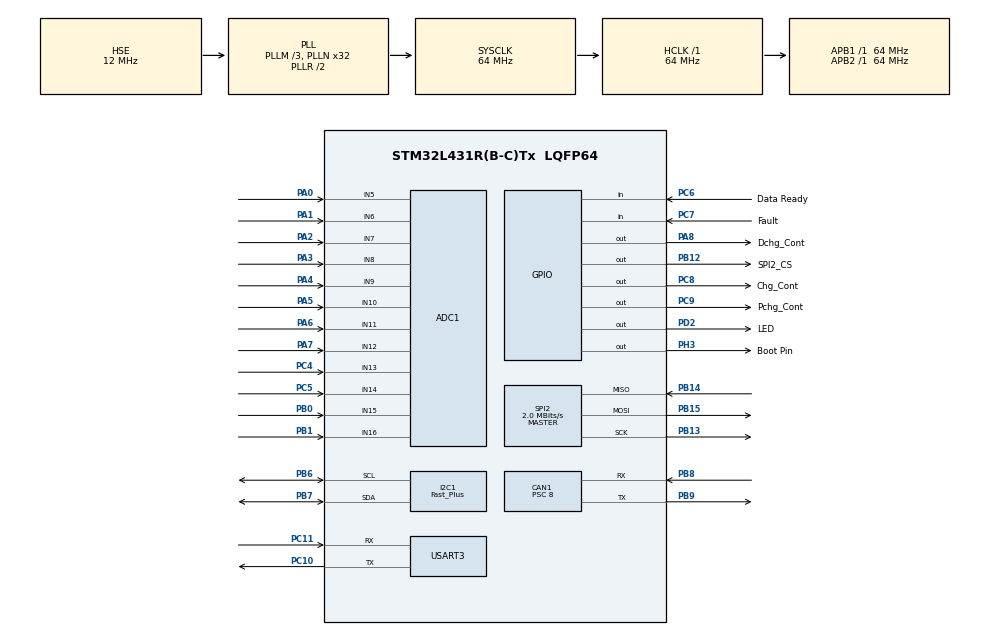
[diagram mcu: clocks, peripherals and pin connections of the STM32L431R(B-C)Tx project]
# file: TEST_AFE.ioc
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ADC1.Channel-0\#ChannelRegularConversion=ADC_CHANNEL_5
ADC1.Channel-1\#ChannelRegularConversion=ADC_CHANNEL_6
ADC1.Channel-10\#ChannelRegularConversion=ADC_CHANNEL_15
ADC1.Channel-11\#ChannelRegularConversion=ADC_CHANNEL_16
ADC1.Channel-2\#ChannelRegularConversion=ADC_CHANNEL_7
ADC1.Channel-3\#ChannelRegularConversion=ADC_CHANNEL_8
ADC1.Channel-4\#ChannelRegularConversion=ADC_CHANNEL_9
ADC1.Channel-5\#ChannelRegularConversion=ADC_CHANNEL_10
ADC1.Channel-6\#ChannelRegularConversion=ADC_CHANNEL_11
ADC1.Channel-7\#ChannelRegularConversion=ADC_CHANNEL_12
ADC1.Channel-8\#ChannelRegularConversion=ADC_CHANNEL_13
ADC1.Channel-9\#ChannelRegularConversion=ADC_CHANNEL_14
ADC1.DMAContinuousRequests=ENABLE
ADC1.EOCSelection=ADC_EOC_SEQ_CONV
ADC1.NbrOfConversion=12
ADC1.NbrOfConversionFlag=1
ADC1.OffsetNumber-0\#ChannelRegularConversion=ADC_OFFSET_NONE
ADC1.OffsetNumber-1\#ChannelRegularConversion=ADC_OFFSET_NONE
ADC1.OffsetNumber-10\#ChannelRegularConversion=ADC_OFFSET_NONE
ADC1.OffsetNumber-11\#ChannelRegularConversion=ADC_OFFSET_NONE
ADC1.OffsetNumber-2\#ChannelRegularConversion=ADC_OFFSET_NONE
ADC1.OffsetNumber-3\#ChannelRegularConversion=ADC_OFFSET_NONE
ADC1.OffsetNumber-4\#ChannelRegularConversion=ADC_OFFSET_NONE
ADC1.OffsetNumber-5\#ChannelRegularConversion=ADC_OFFSET_NONE
ADC1.OffsetNumber-6\#ChannelRegularConversion=ADC_OFFSET_NONE
ADC1.OffsetNumber-7\#ChannelRegularConversion=ADC_OFFSET_NONE
ADC1.OffsetNumber-8\#ChannelRegularConversion=ADC_OFFSET_NONE
ADC1.OffsetNumber-9\#ChannelRegularConversion=ADC_OFFSET_NONE
ADC1.Overrun=ADC_OVR_DATA_OVERWRITTEN
ADC1.Rank-0\#ChannelRegularConversion=1
ADC1.Rank-1\#ChannelRegularConversion=2
ADC1.Rank-10\#ChannelRegularConversion=11
ADC1.Rank-11\#ChannelRegularConversion=12
ADC1.Rank-2\#ChannelRegularConversion=3
ADC1.Rank-3\#ChannelRegularConversion=4
ADC1.Rank-4\#ChannelRegularConversion=5
ADC1.Rank-5\#ChannelRegularConversion=6
ADC1.Rank-6\#ChannelRegularConversion=7
ADC1.Rank-7\#ChannelRegularConversion=8
ADC1.Rank-8\#ChannelRegularConversion=9
ADC1.Rank-9\#ChannelRegularConversion=10
ADC1.SamplingTime-0\#ChannelRegularConversion=ADC_SAMPLETIME_2CYCLES_5
ADC1.SamplingTime-1\#ChannelRegularConversion=ADC_SAMPLETIME_2CYCLES_5
ADC1.SamplingTime-10\#ChannelRegularConversion=ADC_SAMPLETIME_2CYCLES_5
ADC1.SamplingTime-11\#ChannelRegularConversion=ADC_SAMPLETIME_2CYCLES_5
ADC1.SamplingTime-2\#ChannelRegularConversion=ADC_SAMPLETIME_2CYCLES_5
ADC1.SamplingTime-3\#ChannelRegularConversion=ADC_SAMPLETIME_2CYCLES_5
ADC1.SamplingTime-4\#ChannelRegularConversion=ADC_SAMPLETIME_2CYCLES_5
ADC1.SamplingTime-5\#ChannelRegularConversion=ADC_SAMPLETIME_2CYCLES_5
ADC1.SamplingTime-6\#ChannelRegularConversion=ADC_SAMPLETIME_2CYCLES_5
ADC1.SamplingTime-7\#ChannelRegularConversion=ADC_SAMPLETIME_2CYCLES_5
ADC1.SamplingTime-8\#ChannelRegularConversion=ADC_SAMPLETIME_2CYCLES_5
ADC1.SamplingTime-9\#ChannelRegularConversion=ADC_SAMPLETIME_2CYCLES_5
ADC1.master=1
CAN1.BS1=CAN_BS1_13TQ
CAN1.BS2=CAN_BS2_2TQ
CAN1.CalculateBaudRate=500000
CAN1.CalculateTimeBit=2000
CAN1.CalculateTimeQuantum=125.0
CAN1.Prescaler=8
Dma.ADC1.0.Direction=DMA_PERIPH_TO_MEMORY
Dma.ADC1.0.Instance=DMA1_Channel1
Dma.ADC1.0.MemDataAlignment=DMA_MDATAALIGN_WORD
Dma.ADC1.0.MemInc=DMA_MINC_ENABLE
Dma.ADC1.0.Mode=DMA_CIRCULAR
Dma.ADC1.0.PeriphDataAlignment=DMA_PDATAALIGN_WORD
Dma.ADC1.0.PeriphInc=DMA_PINC_DISABLE
Dma.ADC1.0.Priority=DMA_PRIORITY_LOW
Dma.Request0=ADC1
I2C1.I2C_Speed_Mode=I2C_Fast_Plus
I2C1.Timing=0x00300B29
Mcu.Family=STM32L4
Mcu.Name=STM32L431R(B-C)Tx
Mcu.Package=LQFP64
NVIC.DMA1_Channel1_IRQn=true\:0\:0\:false\:false\:true\:false\:true\:true
NVIC.PriorityGroup=NVIC_PRIORITYGROUP_4
PA0.Signal=ADCx_IN5
PA1.Signal=ADCx_IN6
PA13\ (JTMS-SWDIO).Mode=Serial_Wire
PA13\ (JTMS-SWDIO).Signal=SYS_JTMS-SWDIO
PA14\ (JTCK-SWCLK).Mode=Serial_Wire
PA14\ (JTCK-SWCLK).Signal=SYS_JTCK-SWCLK
PA2.Signal=ADCx_IN7
PA3.Signal=ADCx_IN8
PA4.Signal=ADCx_IN9
PA5.Signal=ADCx_IN10
PA6.Signal=ADCx_IN11
PA7.Signal=ADCx_IN12
PA8.GPIO_Label=Dchg_Cont
PA8.Signal=GPIO_Output
PB0.Signal=ADCx_IN15
PB1.Signal=ADCx_IN16
PB12.GPIO_Label=SPI2_CS
PB12.Signal=GPIO_Output
PB13.Mode=Full_Duplex_Master
PB13.Signal=SPI2_SCK
PB14.Mode=Full_Duplex_Master
PB14.Signal=SPI2_MISO
PB15.Mode=Full_Duplex_Master
PB15.Signal=SPI2_MOSI
PB6.Mode=I2C
PB6.Signal=I2C1_SCL
PB7.Mode=I2C
PB7.Signal=I2C1_SDA
PB8.Mode=CAN_Activate
PB8.Signal=CAN1_RX
PB9.Mode=CAN_Activate
PB9.Signal=CAN1_TX
PC10.Mode=Asynchronous
PC10.Signal=USART3_TX
PC11.Mode=Asynchronous
PC11.Signal=USART3_RX
PC4.Signal=ADCx_IN13
PC5.Signal=ADCx_IN14
PC6.GPIO_Label=Data Ready
PC6.Signal=GPIO_Input
PC7.GPIO_Label=Fault
PC7.Signal=GPIO_Input
PC8.GPIO_Label=Chg_Cont
PC8.Signal=GPIO_Output
PC9.GPIO_Label=Pchg_Cont
PC9.Signal=GPIO_Output
PD2.GPIO_Label=LED
PD2.Signal=GPIO_Output
PH0-OSC_IN\ (PH0).Mode=HSE-External-Oscillator
PH0-OSC_IN\ (PH0).Signal=RCC_OSC_IN
PH1-OSC_OUT\ (PH1).Mode=HSE-External-Oscillator
PH1-OSC_OUT\ (PH1).Signal=RCC_OSC_OUT
PH3-BOOT0.GPIO_Label=Boot Pin
PH3-BOOT0.Signal=GPIO_Output
ProjectManager.HeapSize=0x200
ProjectManager.StackSize=0x400
ProjectManager.TargetToolchain=STM32CubeIDE
RCC.ADCFreq_Value=32000000
RCC.AHBFreq_Value=64000000
RCC.APB1Freq_Value=64000000
RCC.APB1TimFreq_Value=64000000
RCC.APB2Freq_Value=64000000
RCC.APB2TimFreq_Value=64000000
RCC.CortexFreq_Value=64000000
RCC.HCLKFreq_Value=64000000
RCC.HSE_VALUE=12000000
RCC.HSI48_VALUE=48000000
RCC.HSI_VALUE=16000000
RCC.LSE_VALUE=0
RCC.MSI_VALUE=4000000
RCC.PLLM=3
RCC.PLLN=32
RCC.PLLSAI1N=16
RCC.PLLSourceVirtual=RCC_PLLSOURCE_HSE
RCC.SYSCLKFreq_VALUE=64000000
RCC.SYSCLKSource=RCC_SYSCLKSOURCE_PLLCLK
RCC.VCOOutputFreq_Value=128000000
SH.ADCx_IN10.0=ADC1_IN10,IN10-Single-Ended
SH.ADCx_IN11.0=ADC1_IN11,IN11-Single-Ended
SH.ADCx_IN12.0=ADC1_IN12,IN12-Single-Ended
SH.ADCx_IN13.0=ADC1_IN13,IN13-Single-Ended
SH.ADCx_IN14.0=ADC1_IN14,IN14-Single-Ended
SH.ADCx_IN15.0=ADC1_IN15,IN15-Single-Ended
SH.ADCx_IN16.0=ADC1_IN16,IN16-Single-Ended
SH.ADCx_IN5.0=ADC1_IN5,IN5-Single-Ended
SH.ADCx_IN6.0=ADC1_IN6,IN6-Single-Ended
SH.ADCx_IN7.0=ADC1_IN7,IN7-Single-Ended
SH.ADCx_IN8.0=ADC1_IN8,IN8-Single-Ended
SH.ADCx_IN9.0=ADC1_IN9,IN9-Single-Ended
SPI2.BaudRatePrescaler=SPI_BAUDRATEPRESCALER_32
SPI2.CalculateBaudRate=2.0 MBits/s
SPI2.DataSize=SPI_DATASIZE_8BIT
SPI2.Direction=SPI_DIRECTION_2LINES
SPI2.Mode=SPI_MODE_MASTER
SPI2.VirtualType=VM_MASTER
TIM6.Period=1000-1
TIM6.Prescaler=64-1
USART3.VirtualMode-Asynchronous=VM_ASYNC
VP_TIM6_VS_ClockSourceINT.Mode=Enable_Timer
board=custom

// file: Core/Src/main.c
/* USER CODE BEGIN Header */
/**
 ******************************************************************************
 * @file           : main.c
 * @brief          : Main program body
 ******************************************************************************
 * @attention
 *
 * Copyright (c) 2023 STMicroelectronics.
 * All rights reserved.
 *
 * This software is licensed under terms that can be found in the LICENSE file
 * in the root directory of this software component.
 * If no LICENSE file comes with this software, it is provided AS-IS.
 *
 ******************************************************************************
 */
/* USER CODE END Header */
#include "main.h"

/* USER CODE BEGIN Includes */
#include "math.h"
/* USER CODE END Includes */

CAN_HandleTypeDef hcan1;

I2C_HandleTypeDef hi2c1;

SPI_HandleTypeDef hspi2;

TIM_HandleTypeDef htim6;

UART_HandleTypeDef huart3;

ADC_HandleTypeDef hadc1;
DMA_HandleTypeDef hdma_adc1;

/* USER CODE BEGIN PV */

uint8_t BMS_TX_BUFF[24][3] = {
		{0x25,0x80,0x00},	//0: Read User Register-1
		{0xA5,0xBA,0x5A},	//1: Write 0x3A5A in User Register-1
		{0xA5,0x80,0x00},	//2: Write 0x0000 in User Register-1
		{0x26,0xC0,0x00},	//3:
		{0x27,0x00,0x00},	//4:
		{0x31,0x40,0x00},	//5:
		{0x10,0x00,0x00},	//6:
		{0x00,0x00,0x00},	//7: Dummy Bytes to Read Data
		{0x03,0x24,0x04},	//8: Identify Master (Device-1)
		{0x03,0x24,0x20},	//9: Identify Slave (Device-2)
		{0x03,0x24,0x30},	//10: Identify Slave (Device-3)
		{0x03,0x24,0x40},	//11: Identify Slave (Device-4)
		{0x03,0x24,0x50},	//12: Identify Slave (Device-5)
		{0x03,0x24,0x60},	//13: Identify Slave (Device-6)
		{0x03,0x24,0x70},	//14: Identify Slave (Device-7)
		{0x03,0x24,0x80},	//15: Identify Slave (Device-8)
		{0x03,0x24,0x90},	//16: Identify Slave (Device-9)
		{0x03,0x24,0xA0},	//17: Identify Slave (Device-10)
		{0x03,0x24,0xB0},	//18: Identify Slave (Device-11)
		{0x03,0x24,0xC0},	//19: Identify Slave (Device-12)
		{0x03,0x24,0xD0},	//20: Identify Slave (Device-13)
		{0x03,0x24,0xE0},	//21: Identify Slave (Device-14)
		{0x03,0x27,0xFE},	//22: Identify Complete
		{0x13,0x48,0x0C}	//23: Reset BMS IC
};

typedef struct
{
	uint8_t no0 : 1;
	uint8_t no1 : 1;
	uint8_t no2 : 1;
	uint8_t no3 : 1;
	uint8_t no4 : 1;
	uint8_t no5 : 1;
	uint8_t no6 : 1;
	uint8_t no7 : 1;
}user_bit;

uint8_t stackChecked = 1;

uint8_t BMS_RX_Buff[4];
uint8_t USER_TX_Buff[8];
uint8_t crc;

float Voltages[13];
float Voltages2[13];
float AllVoltages[25];

float Temperatures[4];
float Temperatures2[4];
float AllTemperatures[8];

float ADCEXT_TEMP[16];

uint16_t rawData[12];

#define ADCEXP_ADDR1		0X17
#define ADCEXP_ADDR2		0X15

uint8_t Rx_Buff[16]= {0};

uint8_t count = 0;
/* USER CODE END PV */

void SystemClock_Config(void);
static void MX_GPIO_Init(void);
static void MX_SPI2_Init(void);
static void MX_TIM6_Init(void);
static void MX_USART3_UART_Init(void);
static void MX_CAN1_Init(void);
static void MX_I2C1_Init(void);
static void MX_ADC1_Init(void);
static void MX_DMA_Init(void);
/* USER CODE BEGIN PFP */

void delay_us(uint32_t delay);
void BMS_SendData(uint8_t *BMS_TX_Buff, uint8_t *BMS_RX_Buff);
uint8_t CalculateCRC4(uint8_t *Array, uint8_t len);
uint8_t isDataReady(void);
void SPI_CS_Low(void);
void SPI_CS_High(void);
void AFE_ReadReg(uint8_t *RX_Buff, uint8_t size);
void isIdentified(void);

void ResetAFE(void);

void ScanVoltages(void);
void ScanTemperatures(void);
void CalculatePackVoltage(uint8_t *Rx_Buff, float *Voltage);
void CalculateCellVoltage(uint8_t*Rx_Buff, float *Voltage);
void CalculateTemperature(uint8_t*Rx_Buff, float *Temperature);
void ReadAllVoltages(uint8_t totalStack, float *Voltage);
void ReadVoltages(uint8_t stackNo, float *Voltage);
void ReadTotalPackVoltage(uint8_t totalStack, float *Voltage);
void ReadPackVoltage(uint8_t stackNo, float *Voltage);
void ReadAllTemperatures(uint8_t totalStack, float *Temperature);
void ReadTemperatures(uint8_t stackNo, float *Temperature);

void ReadADCEXP_Temperatures(float *Temperatures);

void CAN1_Tx(void);

void I2C_Read(void);
/* USER CODE END PFP */

int main(void)
{

  /* MCU Configuration--------------------------------------------------------*/

  /* Reset of all peripherals, Initializes the Flash interface and the Systick. */
  HAL_Init();

  /* Configure the system clock */
  SystemClock_Config();

  /* Initialize all configured peripherals */
  MX_GPIO_Init();
  MX_SPI2_Init();
  MX_TIM6_Init();
  MX_USART3_UART_Init();
  MX_CAN1_Init();
  MX_I2C1_Init();
  MX_DMA_Init();
  MX_ADC1_Init();
  /* USER CODE BEGIN 2 */

	HAL_GPIO_WritePin(Boot_Pin_GPIO_Port, Boot_Pin_Pin, GPIO_PIN_RESET);
	HAL_TIM_Base_Start(&htim6);

	isIdentified();

//	if(HAL_CAN_Start(&hcan1) != HAL_OK)
//	{
//		Error_Handler();
//	}

//	HAL_GPIO_WritePin(Chg_Cont_GPIO_Port, Chg_Cont_Pin, 1);
//	HAL_GPIO_WritePin(Dchg_Cont_GPIO_Port, Dchg_Cont_Pin, 1);
//	HAL_GPIO_WritePin(Pchg_Cont_GPIO_Port, Pchg_Cont_Pin, 1);

//	I2C_Read();

//	HAL_ADC_Start_DMA(&hadc1, (uint32_t*)rawData, 12);
  /* USER CODE END 2 */

  /* Infinite loop */
	while (1)
	{

    /* USER CODE BEGIN 3 */
		HAL_GPIO_TogglePin(LED_GPIO_Port, LED_Pin);

		ScanVoltages();

//		ReadVoltages(1, Voltages);
//		ReadPackVoltage(1, &Voltages[12]);
//
//		ReadVoltages(2, Voltages2);
//		ReadPackVoltage(2, &Voltages2[12]);

		ReadAllVoltages(2, AllVoltages);
		ReadTotalPackVoltage(2, &AllVoltages[24]);

		ScanTemperatures();

//		ReadTemperatures(1, Temperatures);
//		ReadTemperatures(2, Temperatures2);

		ReadAllTemperatures(2, AllTemperatures);

//		CAN1_Tx();
//
//		ReadADCEXP_Temperatures(ADCEXT_TEMP);

		HAL_Delay(500);
	}
  /* USER CODE END 3 */
}

void SystemClock_Config(void)
{
  RCC_OscInitTypeDef RCC_OscInitStruct = {0};
  RCC_ClkInitTypeDef RCC_ClkInitStruct = {0};

  /** Configure the main internal regulator output voltage
  */
  if (HAL_PWREx_ControlVoltageScaling(PWR_REGULATOR_VOLTAGE_SCALE1) != HAL_OK)
  {
    Error_Handler();
  }

  /** Initializes the RCC Oscillators according to the specified parameters
  * in the RCC_OscInitTypeDef structure.
  */
  RCC_OscInitStruct.OscillatorType = RCC_OSCILLATORTYPE_HSE;
  RCC_OscInitStruct.HSEState = RCC_HSE_ON;
  RCC_OscInitStruct.PLL.PLLState = RCC_PLL_ON;
  RCC_OscInitStruct.PLL.PLLSource = RCC_PLLSOURCE_HSE;
  RCC_OscInitStruct.PLL.PLLM = 3;
  RCC_OscInitStruct.PLL.PLLN = 32;
  RCC_OscInitStruct.PLL.PLLP = RCC_PLLP_DIV7;
  RCC_OscInitStruct.PLL.PLLQ = RCC_PLLQ_DIV2;
  RCC_OscInitStruct.PLL.PLLR = RCC_PLLR_DIV2;
  if (HAL_RCC_OscConfig(&RCC_OscInitStruct) != HAL_OK)
  {
    Error_Handler();
  }

  /** Initializes the CPU, AHB and APB buses clocks
  */
  RCC_ClkInitStruct.ClockType = RCC_CLOCKTYPE_HCLK|RCC_CLOCKTYPE_SYSCLK
                              |RCC_CLOCKTYPE_PCLK1|RCC_CLOCKTYPE_PCLK2;
  RCC_ClkInitStruct.SYSCLKSource = RCC_SYSCLKSOURCE_PLLCLK;
  RCC_ClkInitStruct.AHBCLKDivider = RCC_SYSCLK_DIV1;
  RCC_ClkInitStruct.APB1CLKDivider = RCC_HCLK_DIV1;
  RCC_ClkInitStruct.APB2CLKDivider = RCC_HCLK_DIV1;

  if (HAL_RCC_ClockConfig(&RCC_ClkInitStruct, FLASH_LATENCY_3) != HAL_OK)
  {
    Error_Handler();
  }
}

static void MX_CAN1_Init(void)
{

  hcan1.Instance = CAN1;
  hcan1.Init.Prescaler = 8;
  hcan1.Init.Mode = CAN_MODE_NORMAL;
  hcan1.Init.SyncJumpWidth = CAN_SJW_1TQ;
  hcan1.Init.TimeSeg1 = CAN_BS1_13TQ;
  hcan1.Init.TimeSeg2 = CAN_BS2_2TQ;
  hcan1.Init.TimeTriggeredMode = DISABLE;
  hcan1.Init.AutoBusOff = DISABLE;
  hcan1.Init.AutoWakeUp = DISABLE;
  hcan1.Init.AutoRetransmission = DISABLE;
  hcan1.Init.ReceiveFifoLocked = DISABLE;
  hcan1.Init.TransmitFifoPriority = DISABLE;
  if (HAL_CAN_Init(&hcan1) != HAL_OK)
  {
    Error_Handler();
  }

}

static void MX_I2C1_Init(void)
{

  hi2c1.Instance = I2C1;
  hi2c1.Init.Timing = 0x00300B29;
  hi2c1.Init.OwnAddress1 = 0;
  hi2c1.Init.AddressingMode = I2C_ADDRESSINGMODE_7BIT;
  hi2c1.Init.DualAddressMode = I2C_DUALADDRESS_DISABLE;
  hi2c1.Init.OwnAddress2 = 0;
  hi2c1.Init.OwnAddress2Masks = I2C_OA2_NOMASK;
  hi2c1.Init.GeneralCallMode = I2C_GENERALCALL_DISABLE;
  hi2c1.Init.NoStretchMode = I2C_NOSTRETCH_DISABLE;
  if (HAL_I2C_Init(&hi2c1) != HAL_OK)
  {
    Error_Handler();
  }

  /** Configure Analogue filter
  */
  if (HAL_I2CEx_ConfigAnalogFilter(&hi2c1, I2C_ANALOGFILTER_ENABLE) != HAL_OK)
  {
    Error_Handler();
  }

  /** Configure Digital filter
  */
  if (HAL_I2CEx_ConfigDigitalFilter(&hi2c1, 0) != HAL_OK)
  {
    Error_Handler();
  }

  /** I2C Fast mode Plus enable
  */
  HAL_I2CEx_EnableFastModePlus(I2C_FASTMODEPLUS_I2C1);

}

static void MX_SPI2_Init(void)
{

  /* SPI2 parameter configuration*/
  hspi2.Instance = SPI2;
  hspi2.Init.Mode = SPI_MODE_MASTER;
  hspi2.Init.Direction = SPI_DIRECTION_2LINES;
  hspi2.Init.DataSize = SPI_DATASIZE_8BIT;
  hspi2.Init.CLKPolarity = SPI_POLARITY_LOW;
  hspi2.Init.CLKPhase = SPI_PHASE_1EDGE;
  hspi2.Init.NSS = SPI_NSS_SOFT;
  hspi2.Init.BaudRatePrescaler = SPI_BAUDRATEPRESCALER_32;
  hspi2.Init.FirstBit = SPI_FIRSTBIT_MSB;
  hspi2.Init.TIMode = SPI_TIMODE_DISABLE;
  hspi2.Init.CRCCalculation = SPI_CRCCALCULATION_DISABLE;
  hspi2.Init.CRCPolynomial = 7;
  hspi2.Init.CRCLength = SPI_CRC_LENGTH_DATASIZE;
  hspi2.Init.NSSPMode = SPI_NSS_PULSE_ENABLE;
  if (HAL_SPI_Init(&hspi2) != HAL_OK)
  {
    Error_Handler();
  }

}

static void MX_TIM6_Init(void)
{

  TIM_MasterConfigTypeDef sMasterConfig = {0};

  htim6.Instance = TIM6;
  htim6.Init.Prescaler = 64-1;
  htim6.Init.CounterMode = TIM_COUNTERMODE_UP;
  htim6.Init.Period = 1000-1;
  htim6.Init.AutoReloadPreload = TIM_AUTORELOAD_PRELOAD_DISABLE;
  if (HAL_TIM_Base_Init(&htim6) != HAL_OK)
  {
    Error_Handler();
  }
  sMasterConfig.MasterOutputTrigger = TIM_TRGO_RESET;
  sMasterConfig.MasterSlaveMode = TIM_MASTERSLAVEMODE_DISABLE;
  if (HAL_TIMEx_MasterConfigSynchronization(&htim6, &sMasterConfig) != HAL_OK)
  {
    Error_Handler();
  }

}

static void MX_USART3_UART_Init(void)
{

  huart3.Instance = USART3;
  huart3.Init.BaudRate = 115200;
  huart3.Init.WordLength = UART_WORDLENGTH_8B;
  huart3.Init.StopBits = UART_STOPBITS_1;
  huart3.Init.Parity = UART_PARITY_NONE;
  huart3.Init.Mode = UART_MODE_TX_RX;
  huart3.Init.HwFlowCtl = UART_HWCONTROL_NONE;
  huart3.Init.OverSampling = UART_OVERSAMPLING_16;
  huart3.Init.OneBitSampling = UART_ONE_BIT_SAMPLE_DISABLE;
  huart3.AdvancedInit.AdvFeatureInit = UART_ADVFEATURE_NO_INIT;
  if (HAL_UART_Init(&huart3) != HAL_OK)
  {
    Error_Handler();
  }

}

static void MX_GPIO_Init(void)
{
  GPIO_InitTypeDef GPIO_InitStruct = {0};

  /* GPIO Ports Clock Enable */
  __HAL_RCC_GPIOH_CLK_ENABLE();
  __HAL_RCC_GPIOB_CLK_ENABLE();
  __HAL_RCC_GPIOC_CLK_ENABLE();
  __HAL_RCC_GPIOA_CLK_ENABLE();
  __HAL_RCC_GPIOD_CLK_ENABLE();

  /*Configure GPIO pin Output Level */
  HAL_GPIO_WritePin(SPI2_CS_GPIO_Port, SPI2_CS_Pin, GPIO_PIN_RESET);

  /*Configure GPIO pin Output Level */
  HAL_GPIO_WritePin(GPIOC, Chg_Cont_Pin|Pchg_Cont_Pin, GPIO_PIN_RESET);

  /*Configure GPIO pin Output Level */
  HAL_GPIO_WritePin(Dchg_Cont_GPIO_Port, Dchg_Cont_Pin, GPIO_PIN_RESET);

  /*Configure GPIO pin Output Level */
  HAL_GPIO_WritePin(LED_GPIO_Port, LED_Pin, GPIO_PIN_RESET);

  /*Configure GPIO pin Output Level */
  HAL_GPIO_WritePin(Boot_Pin_GPIO_Port, Boot_Pin_Pin, GPIO_PIN_RESET);

  /*Configure GPIO pin : SPI2_CS_Pin */
  GPIO_InitStruct.Pin = SPI2_CS_Pin;
  GPIO_InitStruct.Mode = GPIO_MODE_OUTPUT_PP;
  GPIO_InitStruct.Pull = GPIO_PULLUP;
  GPIO_InitStruct.Speed = GPIO_SPEED_FREQ_VERY_HIGH;
  HAL_GPIO_Init(SPI2_CS_GPIO_Port, &GPIO_InitStruct);

  /*Configure GPIO pins : Data_Ready_Pin Fault_Pin */
  GPIO_InitStruct.Pin = Data_Ready_Pin|Fault_Pin;
  GPIO_InitStruct.Mode = GPIO_MODE_INPUT;
  GPIO_InitStruct.Pull = GPIO_NOPULL;
  HAL_GPIO_Init(GPIOC, &GPIO_InitStruct);

  /*Configure GPIO pins : Chg_Cont_Pin Pchg_Cont_Pin */
  GPIO_InitStruct.Pin = Chg_Cont_Pin|Pchg_Cont_Pin;
  GPIO_InitStruct.Mode = GPIO_MODE_OUTPUT_PP;
  GPIO_InitStruct.Pull = GPIO_NOPULL;
  GPIO_InitStruct.Speed = GPIO_SPEED_FREQ_LOW;
  HAL_GPIO_Init(GPIOC, &GPIO_InitStruct);

  /*Configure GPIO pin : Dchg_Cont_Pin */
  GPIO_InitStruct.Pin = Dchg_Cont_Pin;
  GPIO_InitStruct.Mode = GPIO_MODE_OUTPUT_PP;
  GPIO_InitStruct.Pull = GPIO_NOPULL;
  GPIO_InitStruct.Speed = GPIO_SPEED_FREQ_LOW;
  HAL_GPIO_Init(Dchg_Cont_GPIO_Port, &GPIO_InitStruct);

  /*Configure GPIO pin : LED_Pin */
  GPIO_InitStruct.Pin = LED_Pin;
  GPIO_InitStruct.Mode = GPIO_MODE_OUTPUT_PP;
  GPIO_InitStruct.Pull = GPIO_NOPULL;
  GPIO_InitStruct.Speed = GPIO_SPEED_FREQ_LOW;
  HAL_GPIO_Init(LED_GPIO_Port, &GPIO_InitStruct);

  /*Configure GPIO pin : Boot_Pin_Pin */
  GPIO_InitStruct.Pin = Boot_Pin_Pin;
  GPIO_InitStruct.Mode = GPIO_MODE_OUTPUT_PP;
  GPIO_InitStruct.Pull = GPIO_NOPULL;
  GPIO_InitStruct.Speed = GPIO_SPEED_FREQ_LOW;
  HAL_GPIO_Init(Boot_Pin_GPIO_Port, &GPIO_InitStruct);

}

/* USER CODE BEGIN 4 */

void delay_us(uint32_t delay)
{
	__HAL_TIM_SET_COUNTER(&htim6,0);
	while(__HAL_TIM_GET_COUNTER(&htim6) < (delay));
}

void BMS_SendData(uint8_t *BMS_TX_Buff, uint8_t *BMS_RX_Buff)
{
	HAL_GPIO_WritePin(SPI2_CS_GPIO_Port, SPI2_CS_Pin, GPIO_PIN_RESET);
	//	delay_us(10);
	HAL_SPI_TransmitReceive(&hspi2, BMS_TX_Buff, BMS_RX_Buff, 1,100);

	HAL_GPIO_WritePin(SPI2_CS_GPIO_Port, SPI2_CS_Pin, GPIO_PIN_SET);
}

uint8_t CalculateCRC4(uint8_t *Array, uint8_t len)
{
	uint8_t ii = 0;
	uint8_t j = 0;
	uint8_t k = 0;

	user_bit bit = {0};
	user_bit ff = {0};
	user_bit carry = {0};

	uint8_t tempByte = 0;
	uint8_t result = 0;

	// Initialize bits
	bit.no0 = 0;
	bit.no1 = 0;
	bit.no2 = 0;
	bit.no3 = 0;

	for(ii=0; ii<len; ii++)
	{
		tempByte = *Array++;
		if(ii == (len - 1))
		{
			k = 4;
		}
		else
		{
			k = 8;
		}

		for(j = 0; j < k; j++)
		{
			carry.no0 = (tempByte & 0X80) > 0;
			tempByte = (uint8_t)((tempByte & 0X7F) * 2);
			ff.no0 = carry.no0 ^ bit.no3;
			ff.no1 = bit.no0 ^ bit.no3;
			ff.no2 = bit.no1;
			ff.no3 = bit.no2;
			bit.no0 = ff.no0;
			bit.no1 = ff.no1;
			bit.no2 = ff.no2;
			bit.no3 = ff.no3;
		}
	}

	result = 0;
	if(bit.no0) { result = (uint8_t)(result + 1); }
	if(bit.no1) { result = (uint8_t)(result + 2); }
	if(bit.no2) { result = (uint8_t)(result + 4); }
	if(bit.no3) { result = (uint8_t)(result + 8); }

	return result;
}

uint8_t isDataReady(void)
{
	uint8_t pinState = 0;
	pinState = HAL_GPIO_ReadPin(Data_Ready_GPIO_Port, Data_Ready_Pin);
	if(pinState == GPIO_PIN_RESET)
	{
		return 1;
	}
	else
	{
		return 0;
	}

}

void SPI_CS_Low(void)
{
	HAL_GPIO_WritePin(SPI2_CS_GPIO_Port, SPI2_CS_Pin, GPIO_PIN_RESET);
}

void SPI_CS_High(void)
{
	HAL_GPIO_WritePin(SPI2_CS_GPIO_Port, SPI2_CS_Pin, GPIO_PIN_SET);
}

void AFE_ReadReg(uint8_t *RX_Buff, uint8_t size)
{
	uint8_t delay = 0;
	if(size > 0)
	{
		for(uint8_t i=0; i<size; i++)
		{
			while(isDataReady() != 1){
				if(delay == 36)
				{
					delay = 0;
					break;
				}
				delay_us(1);
				delay++;
			}
			SPI_CS_Low();
			HAL_SPI_Receive(&hspi2, &RX_Buff[i], 1, HAL_MAX_DELAY);
			SPI_CS_High();
//			while(isDataReady() != 0);
		}
	}
}

void CalculatePackVoltage(uint8_t *Rx_Buff, float *Voltage)
{
	uint16_t DATA = 0;
	uint32_t data32 = 0;

	for(uint8_t i=0; i<4; i++)
	{
		data32 |= (Rx_Buff[i] << (3 - i)*8);
	}

	DATA = (uint16_t)(data32 >> 4 & 0X0003FFF);

	if(DATA < 8191)
	{
		*Voltage = ((float)DATA*15.9350784*2.5)/8192;
	}
}

void CalculateCellVoltage(uint8_t*Rx_Buff, float *Voltage)
{
	uint16_t DATA = 0;
	uint32_t data32 = 0;

	for(uint8_t i=0; i<4; i++)
	{
		data32 |= (Rx_Buff[i] << (3 - i)*8);
	}

	DATA = (uint16_t)(data32 >> 4 & 0X0003FFF);

	if(DATA < 8191)
	{
		*Voltage = ((float)DATA*2*2.5)/8192;
	}
}

void CalculateTemperature(uint8_t*Rx_Buff, float *Temperature)
{
	uint16_t DATA = 0;
	uint32_t data32 = 0;
	float Vout = 0;
	float R_NTC = 0;

	for(uint8_t i=0; i<4; i++)
	{
		data32 |= (Rx_Buff[i] << (3 - i)*8);
	}

	DATA = (uint16_t)(data32 >> 4 & 0X0003FFF);

	Vout = ((float)DATA*2.5*2)/16384;
	R_NTC = (Vout * 10000)/(2.5 - Vout);
	*Temperature = ((298*3700)/(298*log((float)R_NTC/10000)+3700)) - 273;
}

void ScanVoltages(void)
{
	uint8_t Tx_Buff[3] = {0};
	uint8_t crc = 0;

	Tx_Buff[0] = 0XF3;
	Tx_Buff[1] = 0X04;
	Tx_Buff[2] = 0X00;
	crc = CalculateCRC4(Tx_Buff, 3);
	Tx_Buff[2] = Tx_Buff[2] + crc;

	HAL_GPIO_WritePin(SPI2_CS_GPIO_Port, SPI2_CS_Pin, GPIO_PIN_RESET);
	HAL_SPI_Transmit(&hspi2, Tx_Buff, 3,HAL_MAX_DELAY);
	HAL_GPIO_WritePin(SPI2_CS_GPIO_Port, SPI2_CS_Pin, GPIO_PIN_SET);

	delay_us(50);
}

void ScanTemperatures(void)
{
	uint8_t Tx_Buff[3] = {0};
	uint8_t crc = 0;

	Tx_Buff[0] = 0XF3;
	Tx_Buff[1] = 0X08;
	Tx_Buff[2] = 0X00;
	crc = CalculateCRC4(Tx_Buff, 3);
	Tx_Buff[2] = Tx_Buff[2] + crc;

	HAL_GPIO_WritePin(SPI2_CS_GPIO_Port, SPI2_CS_Pin, GPIO_PIN_RESET);
	HAL_SPI_Transmit(&hspi2, Tx_Buff, 3,HAL_MAX_DELAY);
	HAL_GPIO_WritePin(SPI2_CS_GPIO_Port, SPI2_CS_Pin, GPIO_PIN_SET);

	delay_us(50);
}

void ReadPackVoltage(uint8_t stackNo, float *Voltage)
{
	uint8_t Rx_Buff[4] = {0};
	uint8_t Tx_Buff[3] = {0};
	uint8_t pageNo = 1;
	uint8_t crc = 0;

	Tx_Buff[0] = ((stackNo & 0X0F) << 4) | pageNo;
	Tx_Buff[1] = 0X00;
	Tx_Buff[2] = 0X00;
	crc = CalculateCRC4(Tx_Buff, 3);
	Tx_Buff[2] = Tx_Buff[2] + crc;

	SPI_CS_Low();
	HAL_SPI_Transmit(&hspi2, Tx_Buff, 3,HAL_MAX_DELAY);
	SPI_CS_High();

	while(isDataReady() != 1);
	AFE_ReadReg(Rx_Buff, 4);
	CalculatePackVoltage(Rx_Buff, Voltage);
}

void ReadTotalPackVoltage(uint8_t totalStack, float *Voltage)
{
	uint8_t Rx_Buff[4] = {0};
	uint8_t Tx_Buff[3] = {0};
	uint8_t pageNo = 1;
	uint8_t crc = 0;
	float StackVoltage[16] = {0};
	float TotalVoltage = 0;

	for(uint8_t stack=1; stack<(totalStack+1); stack++)
	{
		Tx_Buff[0] = ((stack & 0X0F) << 4) | pageNo;
		Tx_Buff[1] = 0X00;
		Tx_Buff[2] = 0X00;
		crc = CalculateCRC4(Tx_Buff, 3);
		Tx_Buff[2] = Tx_Buff[2] + crc;

		SPI_CS_Low();
		HAL_SPI_Transmit(&hspi2, Tx_Buff, 3,HAL_MAX_DELAY);
		SPI_CS_High();

		while(isDataReady() != 1);
		AFE_ReadReg(Rx_Buff, 4);
		CalculatePackVoltage(Rx_Buff, &StackVoltage[stack-1]);

		TotalVoltage += StackVoltage[stack-1];
	}

	*Voltage = TotalVoltage;
}

void ReadVoltages(uint8_t stackNo, float *Voltage)
{
	uint8_t Rx_Buff[4] = {0};
	uint8_t Tx_Buff[3] = {0};
	uint8_t pageNo = 1;
	uint8_t crc = 0;

	for(uint8_t i=1; i<13; i++)
	{
		Tx_Buff[0] = ((stackNo & 0X0F) << 4) | pageNo;
		Tx_Buff[1] = ((i & 0X3F) << 2);
		Tx_Buff[2] = 0X00;
		crc = CalculateCRC4(Tx_Buff, 3);
		Tx_Buff[2] = Tx_Buff[2] + crc;

		SPI_CS_Low();
		HAL_SPI_Transmit(&hspi2, Tx_Buff, 3,HAL_MAX_DELAY);
		SPI_CS_High();

		while(isDataReady() != 1);
		AFE_ReadReg(Rx_Buff, 4);
		CalculateCellVoltage(Rx_Buff, &Voltage[i-1]);
	}
}

void ReadAllVoltages(uint8_t totalStack, float *Voltage)
{
	uint8_t Rx_Buff[4] = {0};
	uint8_t Tx_Buff[3] = {0};
	uint8_t pageNo = 1;
	uint8_t crc = 0;
	uint8_t cellIndex = 0;

	for(uint8_t stack=1; stack<(totalStack+1); stack++)
	{
		for(uint8_t cellNo=1; cellNo<13; cellNo++)
		{
			Tx_Buff[0] = ((stack & 0X0F) << 4) | pageNo;
			Tx_Buff[1] = ((cellNo & 0X3F) << 2);
			Tx_Buff[2] = 0X00;
			crc = CalculateCRC4(Tx_Buff, 3);
			Tx_Buff[2] = Tx_Buff[2] + crc;

			SPI_CS_Low();
			HAL_SPI_Transmit(&hspi2, Tx_Buff, 3,HAL_MAX_DELAY);
			SPI_CS_High();

			while(isDataReady() != 1);
			AFE_ReadReg(Rx_Buff, 4);
			CalculateCellVoltage(Rx_Buff, &Voltage[cellIndex]);
			cellIndex++;
		}
	}
}

void ReadTemperatures(uint8_t stackNo, float *Temperature)
{
	uint8_t Rx_Buff[4] = {0};
	uint8_t Tx_Buff[3] = {0};
	uint8_t pageNo = 1;
	uint8_t crc = 0;

	for(uint8_t i=1; i<5; i++)
	{
		Tx_Buff[0] = ((stackNo & 0X0F) << 4) | pageNo;
		Tx_Buff[1] = (((0X10 | i ) & 0X3F) << 2);
		Tx_Buff[2] = 0X00;
		crc = CalculateCRC4(Tx_Buff, 3);
		Tx_Buff[2] = Tx_Buff[2] + crc;

		SPI_CS_Low();
		HAL_SPI_Transmit(&hspi2, Tx_Buff, 3,HAL_MAX_DELAY);
		SPI_CS_High();

		while(isDataReady() != 1);
		AFE_ReadReg(Rx_Buff, 4);
		CalculateTemperature(Rx_Buff, &Temperature[i-1]);
	}
}

void ReadAllTemperatures(uint8_t totalStack, float *Temperature)
{
	uint8_t Rx_Buff[4] = {0};
	uint8_t Tx_Buff[3] = {0};
	uint8_t pageNo = 1;
	uint8_t crc = 0;
	uint8_t tempIndex = 0;

	for(uint8_t stack=1; stack<(totalStack+1); stack++)
	{
		for(uint8_t tempNo=1; tempNo<5; tempNo++)
		{
			Tx_Buff[0] = ((stack & 0X0F) << 4) | pageNo;
			Tx_Buff[1] = (((0X10 | tempNo ) & 0X3F) << 2);
			Tx_Buff[2] = 0X00;
			crc = CalculateCRC4(Tx_Buff, 3);
			Tx_Buff[2] = Tx_Buff[2] + crc;

			SPI_CS_Low();
			HAL_SPI_Transmit(&hspi2, Tx_Buff, 3,HAL_MAX_DELAY);
			SPI_CS_High();

			while(isDataReady() != 1);
			AFE_ReadReg(Rx_Buff, 4);
			CalculateTemperature(Rx_Buff, &Temperature[tempIndex]);
			tempIndex++;
		}
	}
}

void ResetAFE(void)
{
	uint8_t TX_Buff[3] = {0};
	TX_Buff[0] = 0X13;
	TX_Buff[1] = 0X48;
	TX_Buff[2] = 0X00;
	crc = CalculateCRC4(TX_Buff, 3);
	TX_Buff[2] = TX_Buff[2] + crc;

	HAL_GPIO_WritePin(SPI2_CS_GPIO_Port, SPI2_CS_Pin, GPIO_PIN_RESET);
	HAL_SPI_Transmit(&hspi2, TX_Buff, 3,HAL_MAX_DELAY);
	HAL_GPIO_WritePin(SPI2_CS_GPIO_Port, SPI2_CS_Pin, GPIO_PIN_SET);

	delay_us(50);
}

void isIdentified(void)
{
	uint8_t TX_Buff[3] = {0};

	uint32_t data32 = 0;
//	uint8_t delay = 0;
	do{
		switch(stackChecked)
		{
		uint8_t RX_Buff[4];
		case 1:
			TX_Buff[0] = 0X03;
			TX_Buff[1] = 0X24;
			TX_Buff[2] = 0X00;
			crc = CalculateCRC4(TX_Buff, 3);
			TX_Buff[2] = TX_Buff[2] + crc;

			delay_us(1);

			HAL_GPIO_WritePin(SPI2_CS_GPIO_Port, SPI2_CS_Pin, GPIO_PIN_RESET);
			HAL_SPI_Transmit(&hspi2, TX_Buff, 3,HAL_MAX_DELAY);
			HAL_GPIO_WritePin(SPI2_CS_GPIO_Port, SPI2_CS_Pin, GPIO_PIN_SET);

			while(isDataReady() != 1)
			{
//				if(delay == 36)
//				{
//					break;
//				}
//				delay_us(1);
//				delay++;
			}
			AFE_ReadReg(RX_Buff, 4);

			for(uint8_t i=0; i<4; i++)
			{
				data32 |= (RX_Buff[i] << (3 - i)*8);
			}

			if(data32 == 0X330000C)
			{
				stackChecked++;
				data32 = 0;
			}
			else
			{
				ResetAFE();
				data32 = 0;
				HAL_Delay(500);
			}

			break;

		case 2:
			TX_Buff[0] = 0X03;
			TX_Buff[1] = 0X24;
			TX_Buff[2] = 0X20;
			crc = CalculateCRC4(TX_Buff, 3);
			TX_Buff[2] = TX_Buff[2] + crc;

			delay_us(1);

			HAL_GPIO_WritePin(SPI2_CS_GPIO_Port, SPI2_CS_Pin, GPIO_PIN_RESET);
			HAL_SPI_Transmit(&hspi2, TX_Buff, 3,HAL_MAX_DELAY);
			HAL_GPIO_WritePin(SPI2_CS_GPIO_Port, SPI2_CS_Pin, GPIO_PIN_SET);

			while(isDataReady() != 1)
			{
//				if(delay == 36)
//				{
//					break;
//				}
//				delay_us(1);
//				delay++;
			}
			AFE_ReadReg(RX_Buff, 4);

			for(uint8_t i=0; i<4; i++)
			{
				data32 |= (RX_Buff[i] << (3 - i)*8);
			}

			if(data32 == 0X3262000)
			{
				stackChecked++;
				data32 = 0;
			}
			else
			{
				ResetAFE();
				stackChecked = 1;
			}

			break;

		case 3:
			TX_Buff[0] = 0X03;
			TX_Buff[1] = 0X27;
			TX_Buff[2] = 0XF0;
			crc = CalculateCRC4(TX_Buff, 3);
			TX_Buff[2] = TX_Buff[2] + crc;

			delay_us(1);

			HAL_GPIO_WritePin(SPI2_CS_GPIO_Port, SPI2_CS_Pin, GPIO_PIN_RESET);
			HAL_SPI_Transmit(&hspi2, TX_Buff, 3,HAL_MAX_DELAY);
			HAL_GPIO_WritePin(SPI2_CS_GPIO_Port, SPI2_CS_Pin, GPIO_PIN_SET);

			while(isDataReady() != 1)
			{
//				if(delay == 36)
//				{
//					break;
//				}
//				delay_us(1);
//				delay++;
			}
			AFE_ReadReg(RX_Buff, 4);

			for(uint8_t i=0; i<4; i++)
			{
				data32 |= (RX_Buff[i] << (3 - i)*8);
			}

			if(data32 == 0X2330000B)
			{
				stackChecked++;
				data32 = 0;
			}
			else
			{
				ResetAFE();
				stackChecked = 1;
			}

			break;

		}

	}while(stackChecked < 4);
}

void CAN1_Tx(void)
{
	uint32_t TxMailBox;
	uint8_t data[8] = {1,2,3,4,5,6,7,8};
	CAN_TxHeaderTypeDef	can_tx;

	can_tx.DLC = 8;
	can_tx.IDE = CAN_ID_EXT;
	can_tx.ExtId = 0X19090301;
	can_tx.RTR = CAN_RTR_DATA;

	HAL_UART_Transmit(&huart3, data, 8, HAL_MAX_DELAY);

	HAL_CAN_AddTxMessage(&hcan1, &can_tx, data, &TxMailBox);
	while(HAL_CAN_IsTxMessagePending(&hcan1, TxMailBox));
}

void I2C_Read(void)
{
	/* Analog Input Config in PIN_CFG */
	uint8_t Tx_Buff[3] = {0};
	Tx_Buff[0] = 0X08;
	Tx_Buff[1] = 0X5;
	Tx_Buff[2] = 0X00;

	HAL_I2C_Master_Transmit(&hi2c1, 0X15 << 1 , Tx_Buff, 3, HAL_MAX_DELAY);

	HAL_Delay(1);

	/* Analog Pin Selection for Sequencing in AUTO_SEQ_CHSEL */
	uint8_t Tx_Buff2[3] = {0};
	Tx_Buff2[0] = 0X08;
	Tx_Buff2[1] = 0X12;
	Tx_Buff2[2] = 0XFF;

	HAL_I2C_Master_Transmit(&hi2c1, 0X15 << 1, Tx_Buff2, 3, HAL_MAX_DELAY);

	HAL_Delay(1);

	/* Audo Sequence Mode and Enable Channel Sequencing in SEQUENCE_CFG */
	uint8_t Tx_Buff3[3] = {0};
	Tx_Buff3[0] = 0X08;
	Tx_Buff3[1] = 0X10;
	Tx_Buff3[2] = 0X11;

	HAL_I2C_Master_Transmit(&hi2c1, 0X15 << 1, Tx_Buff3, 3, HAL_MAX_DELAY);

	HAL_Delay(1);

	/* Analog Input Config in PIN_CFG */
	uint8_t Tx_Buff4[3] = {0};
	Tx_Buff4[0] = 0X08;
	Tx_Buff4[1] = 0X5;
	Tx_Buff4[2] = 0X00;

	HAL_I2C_Master_Transmit(&hi2c1, 0X17 << 1 , Tx_Buff4, 3, HAL_MAX_DELAY);

	HAL_Delay(1);

	/* Analog Pin Selection for Sequencing in AUTO_SEQ_CHSEL */
	uint8_t Tx_Buff5[3] = {0};
	Tx_Buff5[0] = 0X08;
	Tx_Buff5[1] = 0X12;
	Tx_Buff5[2] = 0XFF;

	HAL_I2C_Master_Transmit(&hi2c1, 0X17 << 1, Tx_Buff5, 3, HAL_MAX_DELAY);

	HAL_Delay(1);

	/* Audo Sequence Mode and Enable Channel Sequencing in SEQUENCE_CFG */
	uint8_t Tx_Buff6[3] = {0};
	Tx_Buff6[0] = 0X08;
	Tx_Buff6[1] = 0X10;
	Tx_Buff6[2] = 0X11;

	HAL_I2C_Master_Transmit(&hi2c1, 0X17 << 1, Tx_Buff6, 3, HAL_MAX_DELAY);

	HAL_Delay(1);
}

void ReadADCEXP_Temperatures(float *Temperatures)
{
	uint8_t RX_Buff[32] = {0};
	uint16_t Temp_ADC = 0;
	float Vout = 0;
	float R_NTC = 0;

	uint8_t Count = 0;

	HAL_I2C_Master_Receive(&hi2c1, ADCEXP_ADDR1 << 1, RX_Buff, 16, HAL_MAX_DELAY);
	HAL_Delay(1);
	HAL_I2C_Master_Receive(&hi2c1, ADCEXP_ADDR2 << 1, &RX_Buff[16], 16, HAL_MAX_DELAY);

	for(uint8_t i=0; i<16; i++)
	{
		Temp_ADC = ((RX_Buff[Count] << 8) | (RX_Buff[Count + 1] & 0XF0)) >> 4;
		Vout = ((float)Temp_ADC*3.3)/4095;
		R_NTC = (Vout * 10000)/(3.3 - Vout);
		Temperatures[i] = ((298*3700)/(298*log((float)R_NTC/10000)+3700)) - 273;
		Count += 2;
	}
}

/**
  * @brief ADC1 Initialization Function
  * @param None
  * @retval None
  */
static void MX_ADC1_Init(void)
{

  /* USER CODE BEGIN ADC1_Init 0 */

  /* USER CODE END ADC1_Init 0 */

  ADC_ChannelConfTypeDef sConfig = {0};

  /* USER CODE BEGIN ADC1_Init 1 */

  /* USER CODE END ADC1_Init 1 */

  /** Common config
  */
  hadc1.Instance = ADC1;
  hadc1.Init.ClockPrescaler = ADC_CLOCK_SYNC_PCLK_DIV1;
  hadc1.Init.Resolution = ADC_RESOLUTION_12B;
  hadc1.Init.DataAlign = ADC_DATAALIGN_RIGHT;
  hadc1.Init.ScanConvMode = ADC_SCAN_ENABLE;
  hadc1.Init.EOCSelection = ADC_EOC_SEQ_CONV;
  hadc1.Init.LowPowerAutoWait = DISABLE;
  hadc1.Init.ContinuousConvMode = ENABLE;
  hadc1.Init.NbrOfConversion = 12;
  hadc1.Init.DiscontinuousConvMode = DISABLE;
  hadc1.Init.ExternalTrigConv = ADC_SOFTWARE_START;
  hadc1.Init.ExternalTrigConvEdge = ADC_EXTERNALTRIGCONVEDGE_NONE;
  hadc1.Init.DMAContinuousRequests = ENABLE;
  hadc1.Init.Overrun = ADC_OVR_DATA_OVERWRITTEN;
  hadc1.Init.OversamplingMode = DISABLE;
  if (HAL_ADC_Init(&hadc1) != HAL_OK)
  {
    Error_Handler();
  }

  /** Configure Regular Channel
  */
  sConfig.Channel = ADC_CHANNEL_5;
  sConfig.Rank = ADC_REGULAR_RANK_1;
  sConfig.SamplingTime = ADC_SAMPLETIME_640CYCLES_5;
  sConfig.SingleDiff = ADC_SINGLE_ENDED;
  sConfig.OffsetNumber = ADC_OFFSET_NONE;
  sConfig.Offset = 0;
  if (HAL_ADC_ConfigChannel(&hadc1, &sConfig) != HAL_OK)
  {
    Error_Handler();
  }

  /** Configure Regular Channel
  */
  sConfig.Channel = ADC_CHANNEL_6;
  sConfig.Rank = ADC_REGULAR_RANK_2;
  sConfig.SingleDiff = ADC_SINGLE_ENDED;
  if (HAL_ADC_ConfigChannel(&hadc1, &sConfig) != HAL_OK)
  {
    Error_Handler();
  }

  /** Configure Regular Channel
  */
  sConfig.Channel = ADC_CHANNEL_7;
  sConfig.Rank = ADC_REGULAR_RANK_3;
  sConfig.SingleDiff = ADC_SINGLE_ENDED;
  if (HAL_ADC_ConfigChannel(&hadc1, &sConfig) != HAL_OK)
  {
    Error_Handler();
  }

  /** Configure Regular Channel
  */
  sConfig.Channel = ADC_CHANNEL_8;
  sConfig.Rank = ADC_REGULAR_RANK_4;
  sConfig.SingleDiff = ADC_SINGLE_ENDED;
  if (HAL_ADC_ConfigChannel(&hadc1, &sConfig) != HAL_OK)
  {
    Error_Handler();
  }

  /** Configure Regular Channel
  */
  sConfig.Channel = ADC_CHANNEL_9;
  sConfig.Rank = ADC_REGULAR_RANK_5;
  sConfig.SingleDiff = ADC_SINGLE_ENDED;
  if (HAL_ADC_ConfigChannel(&hadc1, &sConfig) != HAL_OK)
  {
    Error_Handler();
  }

  /** Configure Regular Channel
  */
  sConfig.Channel = ADC_CHANNEL_10;
  sConfig.Rank = ADC_REGULAR_RANK_6;
  sConfig.SingleDiff = ADC_SINGLE_ENDED;
  if (HAL_ADC_ConfigChannel(&hadc1, &sConfig) != HAL_OK)
  {
    Error_Handler();
  }

  /** Configure Regular Channel
  */
  sConfig.Channel = ADC_CHANNEL_11;
  sConfig.Rank = ADC_REGULAR_RANK_7;
  sConfig.SingleDiff = ADC_SINGLE_ENDED;
  if (HAL_ADC_ConfigChannel(&hadc1, &sConfig) != HAL_OK)
  {
    Error_Handler();
  }

  /** Configure Regular Channel
  */
  sConfig.Channel = ADC_CHANNEL_12;
  sConfig.Rank = ADC_REGULAR_RANK_8;
  sConfig.SingleDiff = ADC_SINGLE_ENDED;
  if (HAL_ADC_ConfigChannel(&hadc1, &sConfig) != HAL_OK)
  {
    Error_Handler();
  }

  /** Configure Regular Channel
  */
  sConfig.Channel = ADC_CHANNEL_13;
  sConfig.Rank = ADC_REGULAR_RANK_9;
  sConfig.SingleDiff = ADC_SINGLE_ENDED;
  if (HAL_ADC_ConfigChannel(&hadc1, &sConfig) != HAL_OK)
  {
    Error_Handler();
  }

  /** Configure Regular Channel
  */
  sConfig.Channel = ADC_CHANNEL_14;
  sConfig.Rank = ADC_REGULAR_RANK_10;
  sConfig.SingleDiff = ADC_SINGLE_ENDED;
  if (HAL_ADC_ConfigChannel(&hadc1, &sConfig) != HAL_OK)
  {
    Error_Handler();
  }

  /** Configure Regular Channel
  */
  sConfig.Channel = ADC_CHANNEL_15;
  sConfig.Rank = ADC_REGULAR_RANK_11;
  sConfig.SingleDiff = ADC_SINGLE_ENDED;
  if (HAL_ADC_ConfigChannel(&hadc1, &sConfig) != HAL_OK)
  {
    Error_Handler();
  }

  /** Configure Regular Channel
  */
  sConfig.Channel = ADC_CHANNEL_16;
  sConfig.Rank = ADC_REGULAR_RANK_12;
  sConfig.SingleDiff = ADC_SINGLE_ENDED;
  if (HAL_ADC_ConfigChannel(&hadc1, &sConfig) != HAL_OK)
  {
    Error_Handler();
  }
  /* USER CODE BEGIN ADC1_Init 2 */

  /* USER CODE END ADC1_Init 2 */

}

/**
  * Enable DMA controller clock
  */
static void MX_DMA_Init(void)
{

  /* DMA controller clock enable */
  __HAL_RCC_DMA1_CLK_ENABLE();

  /* DMA interrupt init */
  /* DMA1_Channel1_IRQn interrupt configuration */
  HAL_NVIC_SetPriority(DMA1_Channel1_IRQn, 0, 0);
  HAL_NVIC_EnableIRQ(DMA1_Channel1_IRQn);

}
/* USER CODE END 4 */

void Error_Handler(void)
{
	__disable_irq();
	while (1)
	{
	}
}
